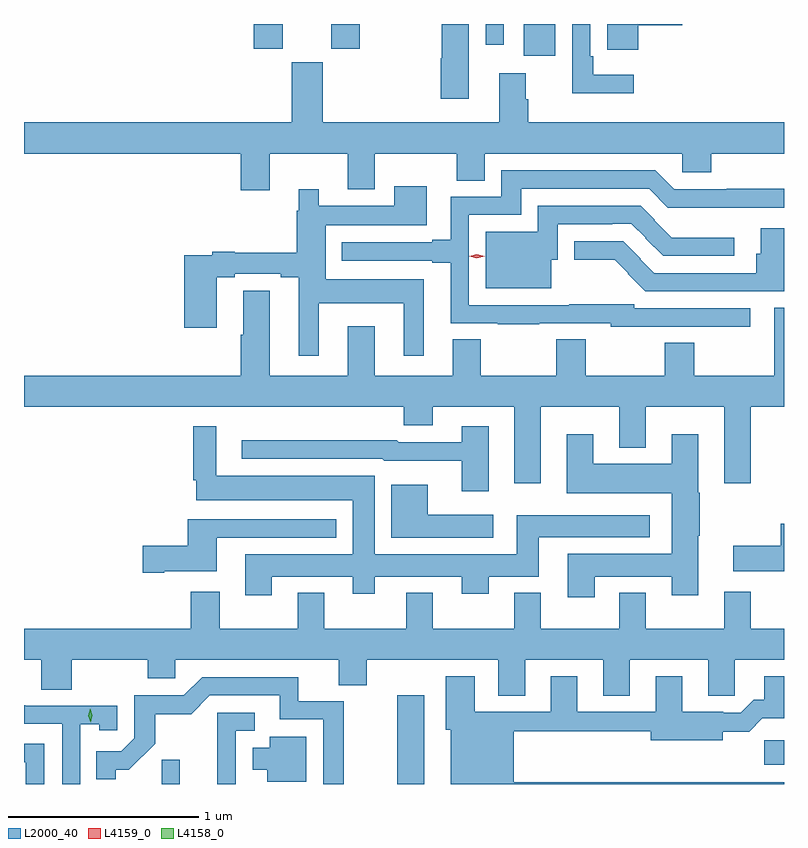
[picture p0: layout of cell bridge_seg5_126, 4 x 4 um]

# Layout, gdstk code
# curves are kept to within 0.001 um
import gdstk
lib = gdstk.Library(unit=1e-6, precision=1e-09)
def R(c, l, rs):  # rectangles x0, y0, x1, y1
    for r in rs: c.add(gdstk.rectangle(r[:2], r[2:], *l))
def P(c, l, *ps):  # polygons
    for p in ps: c.add(gdstk.Polygon(p, *l))
L2000_40 = (2000, 40)
L4158_0 = (4158, 0)
L4159_0 = (4159, 0)

bridge_seg5_126 = lib.new_cell('bridge_seg5_126')
R(bridge_seg5_126, L2000_40, [(421.624,853.442,421.718,853.569), (422.863,853.442,423.004,853.909), (424.794,853.544,424.898,853.673), (423.527,857.274,423.694,857.442), (422.108,857.313,422.26,857.442), (422.516,857.313,422.664,857.442), (423.327,857.334,423.423,857.442)])
P(bridge_seg5_126, L2000_40, [(424.13,857.435),(424.363,857.435),(424.363,857.442),(423.968,857.442),(423.968,857.419),(423.969,857.419),(423.969,857.307),(424.13,857.307)],
  [(424.108,857.176),(423.895,857.176),(423.895,857.272),(423.879,857.272),(423.879,857.442),(423.783,857.442),(423.783,857.078),(424.108,857.078)],
  [(423.238,857.442),(423.097,857.442),(423.097,857.261),(423.092,857.261),(423.092,857.049),(423.238,857.049)],
  [(423.551,857.045),(423.538,857.045),(423.538,857.182),(423.398,857.182),(423.398,856.924),(422.47,856.924),(422.47,857.241),(422.306,857.241),(422.306,856.924),(420.898,856.924),(420.898,856.76),(422.039,856.76),(422.039,856.566),(422.191,856.566),(422.191,856.76),(422.603,856.76),(422.603,856.571),(422.743,856.571),(422.743,856.76),(423.175,856.76),(423.175,856.618),(423.322,856.618),(423.322,856.76),(424.362,856.76),(424.362,856.662),(424.514,856.662),(424.514,856.76),(424.898,856.76),(424.898,856.924),(423.551,856.924)],
  [(424.72,855.945),(424.11,855.945),(424.11,855.966),(423.769,855.966),(423.769,855.963),(423.24,855.963),(423.24,856.437),(423.514,856.437),(423.514,856.575),(424.188,856.575),(424.287,856.476),(424.384,856.475),(424.898,856.476),(424.898,856.574),(424.597,856.574),(424.597,856.572),(424.32,856.572),(424.221,856.671),(423.41,856.671),(423.41,856.533),(423.144,856.533),(423.144,856.306),(423.047,856.306),(423.047,856.293),(422.571,856.293),(422.571,856.197),(423.047,856.197),(423.047,856.185),(423.143,856.185),(423.143,855.867),(423.391,855.867),(423.391,855.862),(423.611,855.862),(423.611,855.867),(423.987,855.867),(423.987,855.849),(424.72,855.849)],
  [(422.449,855.971),(422.897,855.971),(422.897,855.696),(423.001,855.696),(423.001,856.099),(422.485,856.099),(422.485,856.382),(423.019,856.382),(423.019,856.588),(422.846,856.588),(422.846,856.486),(422.449,856.486),(422.449,856.573),(422.345,856.573),(422.345,856.46),(422.333,856.46),(422.333,856.237),(422.008,856.237),(422.008,856.244),(421.888,856.244),(421.888,856.224),(421.742,856.224),(421.742,855.843),(421.912,855.843),(421.912,856.108),(422.008,856.108),(422.008,856.128),(422.249,856.128),(422.249,856.108),(422.345,856.108),(422.345,855.696),(422.449,855.696)],
  [(423.673,856.202),(423.706,856.202),(423.706,856.389),(423.995,856.389),(423.995,856.392),(424.095,856.392),(424.171,856.316),(424.169,856.314),(424.262,856.221),(424.636,856.221),(424.636,856.318),(424.307,856.318),(424.215,856.41),(424.217,856.412),(424.144,856.485),(423.602,856.485),(423.602,856.348),(423.329,856.348),(423.329,856.052),(423.673,856.052)],
  [(424.898,856.366),(424.775,856.366),(424.775,856.233),(424.751,856.233),(424.751,856.131),(424.215,856.131),(424.142,856.204),(424.144,856.206),(424.051,856.299),(423.795,856.299),(423.795,856.201),(424.006,856.201),(424.078,856.129),(424.076,856.128),(424.169,856.035),(424.898,856.035)],
  [(423.619,855.428),(424.031,855.428),(424.031,855.212),(424.171,855.212),(424.171,855.428),(424.583,855.428),(424.583,855.024),(424.723,855.024),(424.723,855.428),(424.898,855.428),(424.898,855.949),(424.847,855.949),(424.847,855.592),(424.425,855.592),(424.425,855.764),(424.27,855.764),(424.27,855.592),(423.855,855.592),(423.855,855.782),(423.7,855.782),(423.7,855.592),(423.303,855.592),(423.303,855.782),(423.155,855.782),(423.155,855.592),(422.743,855.592),(422.743,855.85),(422.603,855.85),(422.603,855.592),(422.191,855.592),(422.191,856.039),(422.051,856.039),(422.051,855.807),(422.039,855.807),(422.039,855.592),(420.898,855.592),(420.898,855.428),(422.897,855.428),(422.897,855.329),(423.049,855.329),(423.049,855.428),(423.479,855.428),(423.479,855.024),(423.619,855.024)],
  [(423.343,855.325),(423.203,855.325),(423.203,855.24),(422.871,855.24),(422.861,855.25),(422.043,855.25),(422.043,855.153),(422.784,855.153),(422.793,855.144),(423.203,855.144),(423.203,854.982),(423.343,854.982)],
  [(422.203,854.534),(422.627,854.534),(422.627,854.444),(422.743,854.444),(422.743,854.534),(423.203,854.534),(423.203,854.444),(423.343,854.444),(423.343,854.534),(423.607,854.534),(423.607,854.741),(424.192,854.741),(424.192,854.857),(423.491,854.857),(423.491,854.65),(422.743,854.65),(422.743,855.064),(421.909,855.064),(421.909,855.325),(421.788,855.325),(421.788,855.04),(421.805,855.04),(421.805,854.936),(422.627,854.936),(422.627,854.65),(422.063,854.65),(422.063,854.436),(422.203,854.436)],
  [(423.901,854.534),(424.307,854.534),(424.307,854.436),(424.447,854.436),(424.447,854.749),(424.455,854.749),(424.455,854.976),(424.447,854.976),(424.447,855.283),(424.307,855.283),(424.307,855.127),(423.895,855.127),(423.895,855.283),(423.755,855.283),(423.755,854.972),(424.307,854.972),(424.307,854.653),(423.761,854.653),(423.761,854.424),(423.901,854.424)],
  [(423.263,854.739),(423.367,854.739),(423.367,854.86),(423.022,854.86),(423.022,855.016),(422.831,855.016),(422.831,854.738),(423.263,854.738)],
  [(421.636,854.561),(421.912,854.561),(421.912,854.739),(422.542,854.739),(422.542,854.835),(421.76,854.835),(421.76,854.696),(421.524,854.696),(421.524,854.554),(421.636,854.554)],
  [(424.898,854.812),(424.88,854.812),(424.88,854.696),(424.632,854.696),(424.632,854.561),(424.898,854.561)],
  [(424.638,854.096),(424.898,854.096),(424.898,854.26),(424.723,854.26),(424.723,854.455),(424.583,854.455),(424.583,854.26),(424.171,854.26),(424.171,854.449),(424.031,854.449),(424.031,854.26),(423.619,854.26),(423.619,854.449),(423.479,854.449),(423.479,854.26),(423.049,854.26),(423.049,854.449),(422.909,854.449),(422.909,854.26),(422.479,854.26),(422.479,854.449),(422.339,854.449),(422.339,854.26),(421.927,854.26),(421.927,854.455),(421.775,854.455),(421.775,854.26),(420.898,854.26),(420.898,854.096),(420.989,854.096),(420.989,853.939),(421.149,853.939),(421.149,854.096),(421.549,854.096),(421.549,853.998),(421.695,853.998),(421.695,854.096),(422.555,854.096),(422.555,853.963),(422.703,853.963),(422.703,854.096),(423.395,854.096),(423.395,853.906),(423.535,853.906),(423.535,854.096),(423.947,854.096),(423.947,853.906),(424.087,853.906),(424.087,854.096),(424.499,854.096),(424.499,853.906),(424.638,853.906)],
  [(424.898,853.45),(423.475,853.45),(423.475,853.72),(424.196,853.72),(424.196,853.673),(424.576,853.673),(424.576,853.718),(424.715,853.718),(424.784,853.787),(424.898,853.787),(424.898,854.008),(424.793,854.008),(424.793,853.885),(424.738,853.885),(424.671,853.818),(424.577,853.818),(424.577,853.821),(424.363,853.821),(424.363,854.008),(424.223,854.008),(424.223,853.821),(423.811,853.821),(423.811,854.008),(423.671,854.008),(423.671,853.821),(423.271,853.821),(423.271,854.008),(423.119,854.008),(423.119,853.728),(423.143,853.728),(423.143,853.442),(424.898,853.442)],
  [(422.581,853.878),(422.342,853.878),(422.342,854.004),(421.836,854.004),(421.74,853.908),(421.479,853.908),(421.479,853.683),(421.41,853.614),(421.279,853.614),(421.279,853.467),(421.38,853.467),(421.38,853.517),(421.45,853.517),(421.588,853.654),(421.588,853.81),(421.777,853.81),(421.875,853.908),(422.243,853.908),(422.243,853.782),(422.472,853.782),(422.472,853.442),(422.581,853.442)],
  [(421.194,853.757),(421.293,853.757),(421.293,853.725),(421.389,853.725),(421.389,853.854),(420.905,853.854),(420.905,853.857),(420.898,853.857),(420.898,853.758),(421.098,853.758),(421.098,853.442),(421.194,853.442)],
  [(422.013,853.722),(422.113,853.722),(422.113,853.818),(421.916,853.818),(421.916,853.442),(422.013,853.442)],
  [(422.383,853.69),(422.192,853.69),(422.192,853.633),(422.102,853.633),(422.102,853.517),(422.177,853.517),(422.177,853.454),(422.383,853.454)],
  [(421.005,853.653),(420.898,853.653),(420.898,853.557),(420.907,853.557),(420.907,853.442),(421.005,853.442)])
P(bridge_seg5_126, L4158_0, [(421.248,853.766),(421.248,853.767),(421.237,853.802),(421.246,853.839),(421.246,853.839),(421.246,853.839),(421.257,853.803),(421.249,853.767)])
P(bridge_seg5_126, L4159_0, [(423.282,856.21),(423.241,856.22),(423.24,856.22),(423.241,856.22),(423.282,856.23),(423.323,856.219),(423.323,856.219),(423.323,856.219)])

lib.write_gds('bridge_seg5_126.gds')
